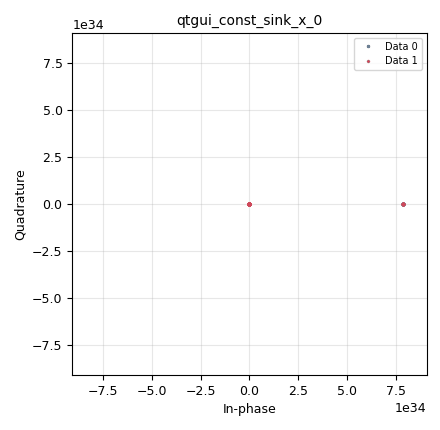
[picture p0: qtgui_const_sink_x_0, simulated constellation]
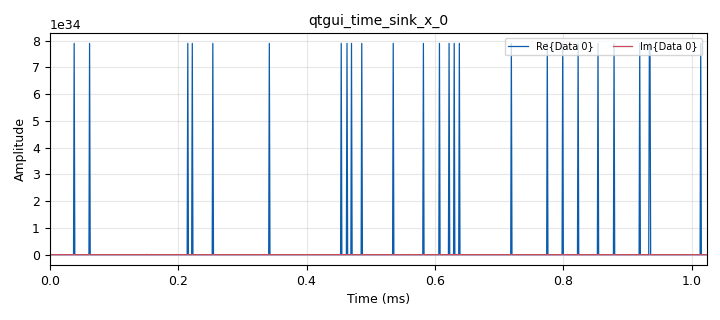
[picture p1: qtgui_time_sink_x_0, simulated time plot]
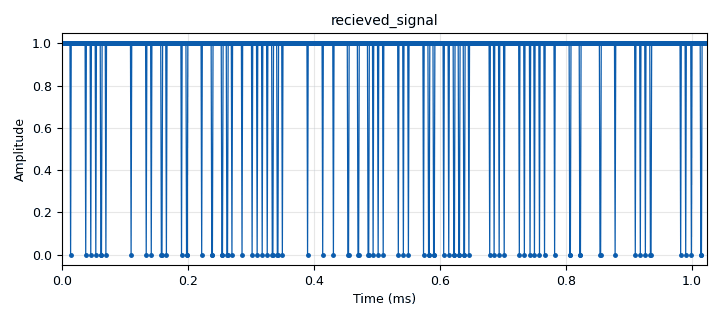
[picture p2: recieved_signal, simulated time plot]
options:
  parameters:
    generate_options: qt_gui
    id: assignment_2_QAM_demod
    output_language: python
    title: Not titled yet
  states: {}

blocks:
- name: QAM16
  id: variable
  parameters:
    value: '-1-1j,1-1j,1+1j,-1+1j, 1+3j, 3+1j, 3+3j, -1+3j, -3+1j, -3+3j, 3-1j, 1-3j, 3-3j, -3-1j, -1-3j, -3-3j'
  states: {}
- name: bpsk
  id: variable
  parameters:
    value: '-1+0j, 1+0j'
  states: {}
- name: cfo
  id: variable_qtgui_range
  parameters:
    label: carrier_offset (Hz)
    start: '0'
    step: '10'
    stop: 100e3
    value: '0'
  states: {}
- name: constellation
  id: variable_qtgui_chooser
  parameters:
    label0: bpsk
    label1: qpsk
    label2: QAM16
    num_opts: '3'
    option0: bpsk
    option1: qpsk
    option2: QAM16
    type: raw
    value: bpsk
    widget: radio_buttons
  states: {}
- name: mod_order
  id: variable
  parameters:
    value: '4'
  states: {}
- name: noise
  id: variable_qtgui_range
  parameters:
    label: noise amplitude
    start: '0'
    step: '0.01'
    stop: '1'
    value: '0'
  states: {}
- name: qpsk
  id: variable
  parameters:
    value: '-1-1j,1-1j,1+1j,-1+1j'
  states: {}
- name: samp_rate
  id: variable
  parameters:
    value: 1e6
  states: {}
- name: analog_noise_source_x_0
  id: analog_noise_source_x
  parameters:
    amp: '0'
    noise_type: analog.GR_GAUSSIAN
    seed: '0'
    type: complex
  states: {}
- name: analog_quadrature_demod_cf_0
  id: analog_quadrature_demod_cf
  parameters:
    gain: '10'
  states: {}
- name: analog_random_source_x_0
  id: analog_random_source_x
  parameters:
    max: '255'
    min: '0'
    num_samps: '1000'
    repeat: 'True'
    type: int
  states: {}
- name: analog_sig_source_x_0
  id: analog_sig_source_x
  parameters:
    amp: '1'
    freq: '0'
    offset: '0'
    phase: '0'
    samp_rate: samp_rate
    type: complex
    waveform: analog.GR_COS_WAVE
  states: {}
- name: blocks_add_xx_0
  id: blocks_add_xx
  parameters:
    type: complex
  states: {}
- name: blocks_char_to_float_0
  id: blocks_char_to_float
  parameters:
    scale: '1'
  states: {}
- name: blocks_multiply_xx_0
  id: blocks_multiply_xx
  parameters:
    type: complex
  states: {}
- name: blocks_packed_to_unpacked_xx_0
  id: blocks_packed_to_unpacked_xx
  parameters:
    bits_per_chunk: '4'
    endianness: gr.GR_MSB_FIRST
    type: int
  states: {}
- name: blocks_throttle2_0
  id: blocks_throttle2
  parameters:
    samples_per_second: samp_rate
    type: complex
  states: {}
- name: digital_binary_slicer_fb_0
  id: digital_binary_slicer_fb
  parameters: {}
  states: {}
- name: digital_chunks_to_symbols_xx_0
  id: digital_chunks_to_symbols_xx
  parameters:
    dimension: '1'
    in_type: int
    out_type: complex
    symbol_table: constellation
  states: {}
- name: freq_xlating_fir_filter_xxx_0
  id: freq_xlating_fir_filter_xxx
  parameters:
    center_freq: '0'
    decim: '1'
    samp_rate: samp_rate
    taps: '1'
    type: ccc
  states: {}
- name: import_0
  id: import
  parameters:
    imports: import math
  states: {}
- name: qtgui_const_sink_x_0
  id: qtgui_const_sink_x
  parameters:
    autoscale: 'True'
    grid: 'True'
    nconnections: '2'
    size: '1024'
    type: complex
  states: {}
- name: qtgui_time_sink_x_0
  id: qtgui_time_sink_x
  parameters:
    autoscale: 'True'
    grid: 'True'
    size: '1024'
    srate: samp_rate
    type: complex
  states: {}
- name: randomdata
  id: blocks_file_sink
  parameters:
    file: C:\Users\khana\OneDrive\Desktop\randomdata
    type: int
  states: {}
- name: recieved_signal
  id: qtgui_time_sink_x
  parameters:
    autoscale: 'True'
    ctrlpanel: 'True'
    grid: 'True'
    legend: 'False'
    marker1: '9'
    size: '1024'
    srate: samp_rate
    type: float
  states: {}

connections:
- [analog_noise_source_x_0, '0', blocks_add_xx_0, '1']
- [analog_quadrature_demod_cf_0, '0', digital_binary_slicer_fb_0, '0']
- [analog_random_source_x_0, '0', blocks_packed_to_unpacked_xx_0, '0']
- [analog_random_source_x_0, '0', randomdata, '0']
- [analog_sig_source_x_0, '0', blocks_multiply_xx_0, '1']
- [blocks_add_xx_0, '0', blocks_multiply_xx_0, '0']
- [blocks_char_to_float_0, '0', recieved_signal, '0']
- [blocks_multiply_xx_0, '0', blocks_throttle2_0, '0']
- [blocks_packed_to_unpacked_xx_0, '0', digital_chunks_to_symbols_xx_0, '0']
- [blocks_throttle2_0, '0', freq_xlating_fir_filter_xxx_0, '0']
- [blocks_throttle2_0, '0', qtgui_const_sink_x_0, '1']
- [blocks_throttle2_0, '0', qtgui_time_sink_x_0, '0']
- [digital_binary_slicer_fb_0, '0', blocks_char_to_float_0, '0']
- [digital_chunks_to_symbols_xx_0, '0', blocks_add_xx_0, '0']
- [digital_chunks_to_symbols_xx_0, '0', qtgui_const_sink_x_0, '0']
- [freq_xlating_fir_filter_xxx_0, '0', analog_quadrature_demod_cf_0, '0']

metadata:
  file_format: 1
  grc_version: 3.10.10.0
